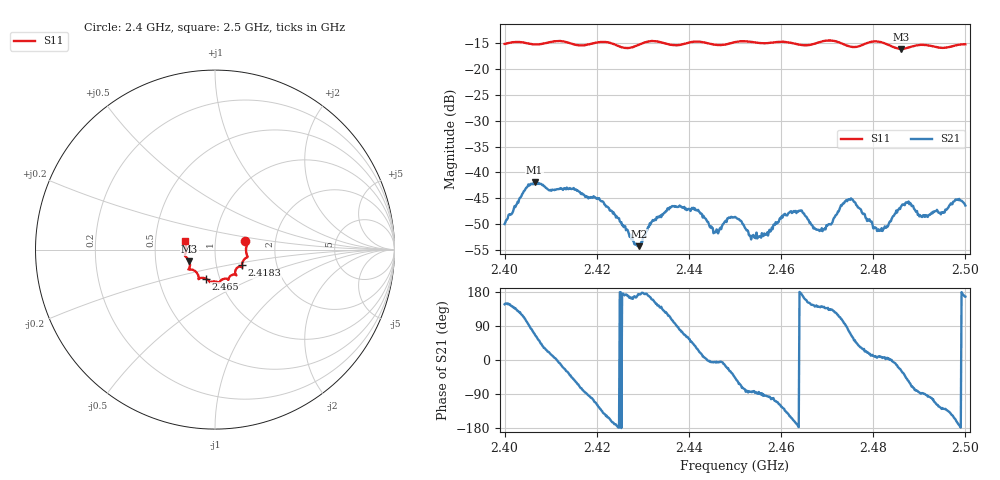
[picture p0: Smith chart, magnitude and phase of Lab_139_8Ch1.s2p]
# Hz S RI R 50
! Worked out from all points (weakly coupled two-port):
!   601 points, 2.4 GHz to 2.5 GHz, reference 50 ohm
!   highest |S21| = -41.95 dB at 2.4065 GHz (marker M1); lowest = -54.3 dB at 2.4292 GHz (marker M2)
!   lowest |S11| = -16.1 dB at 2.486 GHz (marker M3), VSWR 1.37, Z = 37.2 - j4.95 ohm
!   |S11| at or under -10 dB: start of sweep to end of sweep
!   S12 and S22 are empty: the file has one direction only
!   S11 on the Smith chart (normalised r, x): 2.4 GHz: 1.40, +0.13; 2.4183 GHz: 1.33, -0.24; 2.465 GHz: 0.86, -0.28; 2.5 GHz: 0.71, +0.07
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2.4e9  0.1687 0.0463  -0.00265 0.00172  0 0  0 0
2.4065e9  0.1728 0.00296  0.00289 0.00745  0 0  0 0
2.416667e9  0.1547 -0.0678  0.00165 -0.00592  0 0  0 0
2.418333e9  0.1499 -0.0868  -0.000483 -0.00568  0 0  0 0
2.421e9  0.1522 -0.1006  -0.00359 -0.00382  0 0  0 0
2.429167e9  0.1122 -0.1302  -0.00192 0.000217  0 0  0 0
2.433333e9  0.1178 -0.1412  -0.00301 0.00221  0 0  0 0
2.436333e9  0.097 -0.1405  -0.00121 0.00456  0 0  0 0
2.441167e9  0.0744 -0.168  0.00339 0.00275  0 0  0 0
2.445833e9  0.0551 -0.1621  0.00261 -0.000305  0 0  0 0
2.45e9  0.0256 -0.1801  0.00255 -0.00269  0 0  0 0
2.454e9  0.0146 -0.1808  0.000338 -0.00246  0 0  0 0
2.462e9  -0.0318 -0.1768  -0.00358 -0.00214  0 0  0 0
2.465e9  -0.0524 -0.1612  -0.00382 0.00116  0 0  0 0
2.466667e9  -0.0711 -0.1573  -0.00255 0.00176  0 0  0 0
2.469167e9  -0.0897 -0.163  -0.00214 0.00184  0 0  0 0
2.475e9  -0.1007 -0.1301  0.00182 0.00511  0 0  0 0
2.4805e9  -0.148 -0.1107  0.00287 0.000527  0 0  0 0
2.483333e9  -0.1409 -0.0966  0.00314 0.00025  0 0  0 0
2.486e9  -0.1425 -0.0648  0.00416 -0.0021  0 0  0 0
2.491e9  -0.1676 -0.0339  4.68e-05 -0.00385  0 0  0 0
2.5e9  -0.1668 0.0472  -0.00466 0.00107  0 0  0 0
